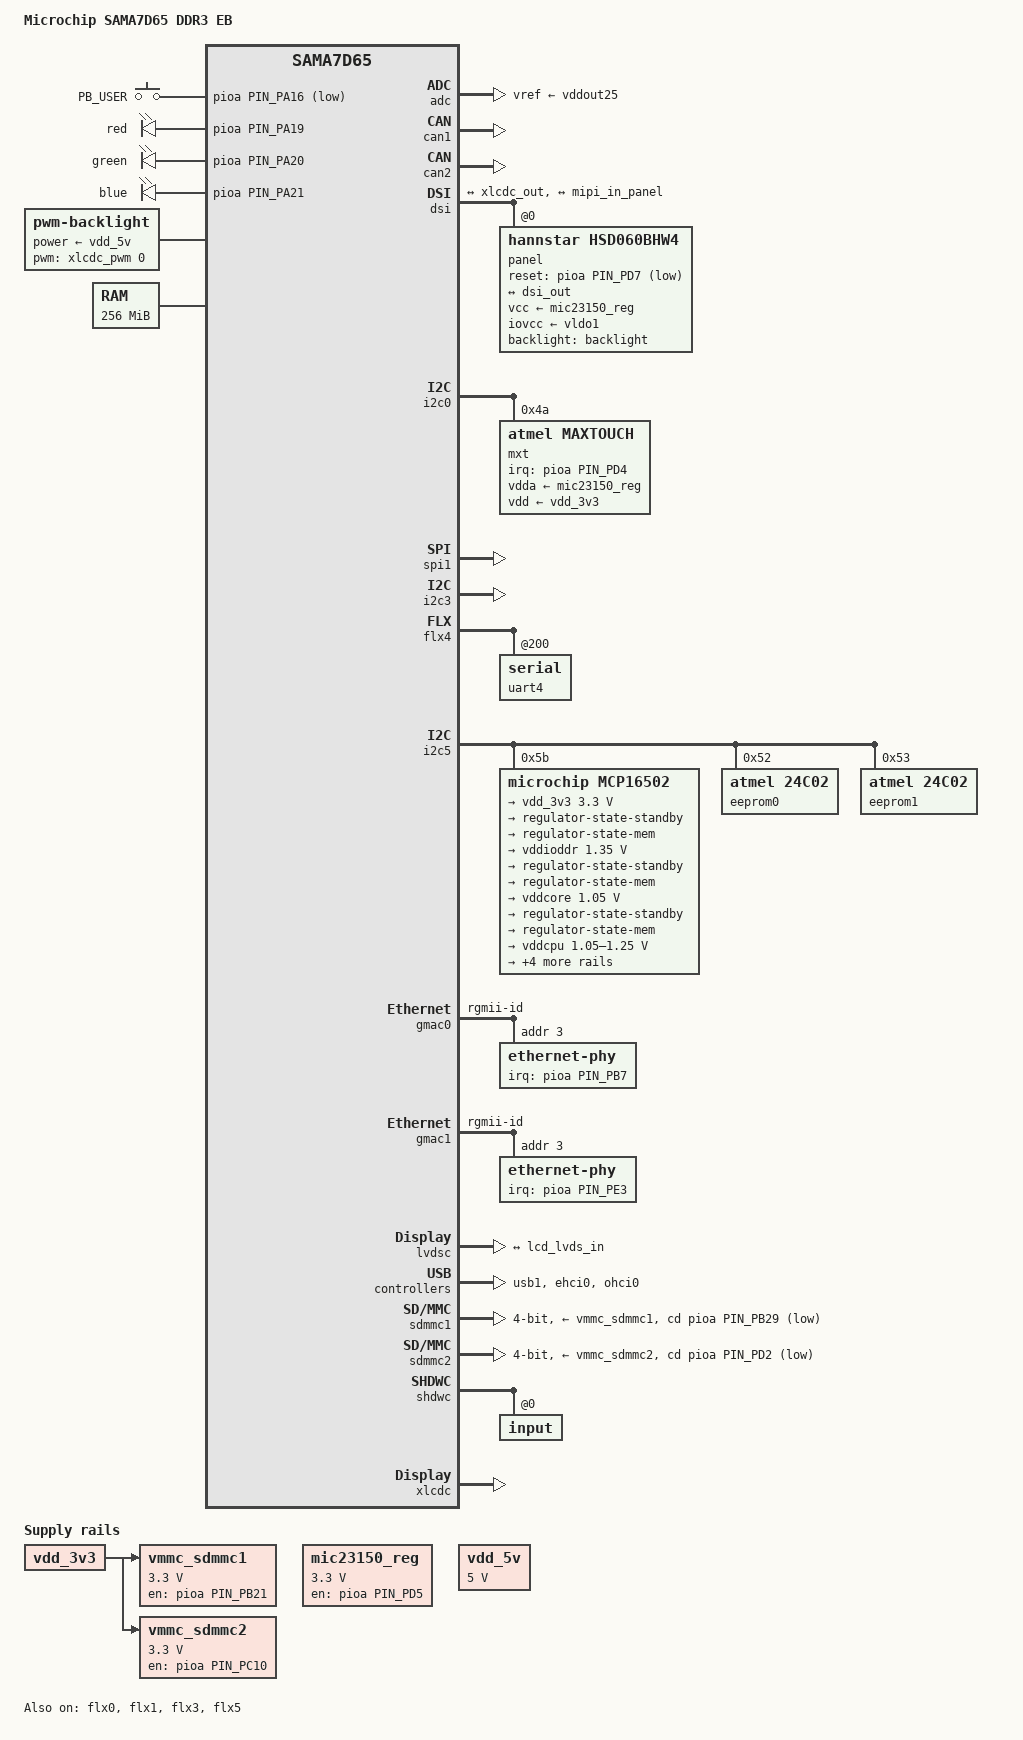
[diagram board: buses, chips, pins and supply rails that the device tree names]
// SPDX-License-Identifier: (GPL-2.0+ OR MIT)
/*
 *  at91-sama7d65.dts - Device Tree file for SAMA7D65 board
 *
 *  Copyright (c) 2023 Microchip Technology Inc. and its subsidiaries
 *
 *
 */
/dts-v1/;
#include "sama7d65-pinfunc.h"
#include "sama7d65.dtsi"
#include <dt-bindings/mfd/atmel-flexcom.h>
#include <dt-bindings/input/input.h>
#include <dt-bindings/pinctrl/at91.h>
#include <dt-bindings/sound/microchip,pdmc.h>

/* Select LCD interface: have this macro defined for MIPI DSI or undefined for LVDS */
#define LCD_DSI_NOT_LVDS

/ {
	model = "Microchip SAMA7D65 DDR3 EB";
	compatible = "microchip,sama7d65-ddr3-eb", "microchip,sama7d65", "microchip,sama7";

	chosen {

		bootargs = "rw root=/dev/mmcblk0p2 rootfstype=ext4 rootwait";
		stdout-path = "serial0:115200n8";
	};

	aliases {
		serial0 = &uart4;
		i2c0 = &i2c0;
		i2c1 = &i2c5;
		i2c2 = &i2c3;
		mmc0 = &sdmmc1;
		mmc1 = &sdmmc2;
	};

	display {
		/* LVDS WVGA Display panel Microchip AC69T88A */
		compatible = "sitronix,st7262", "simple-panel";
		power-supply = <&mic23150_reg>;
		backlight = <&backlight>;
		/* Warning: depending on board setup I3C or mikroBUS may own PC5 */
		reset-gpios = <&pioa PIN_PC5 GPIO_ACTIVE_LOW>;
		pinctrl-names = "default";
		pinctrl-0 = <&pinctrl_lcd_reset>;
		width-mm = <108>;
		height-mm = <65>;
#ifdef LCD_DSI_NOT_LVDS
		status="disabled";
#else
		status="okay";
#endif

		port {
			lcd_lvds_in: endpoint {
				remote-endpoint = <&lvdsc_out>;
			};
		};
	};

	gpio-keys {
		compatible = "gpio-keys";

		pinctrl-names = "default";
		pinctrl-0 = <&pinctrl_key_gpio_default>;

		button {
				label = "PB_USER";
				gpios = <&pioa PIN_PA16 GPIO_ACTIVE_LOW>;
				linux,code = <KEY_0>;
				wakeup-source;
		};
	};

	leds {
		compatible = "gpio-leds";
		pinctrl-names = "default";
		pinctrl-0 = <&pinctrl_led_gpio_default>;
		status = "okay"; /* Conflict with pwm. */

		red_led {
			label = "red";
			gpios = <&pioa PIN_PA19 GPIO_ACTIVE_HIGH>;
		};

		green_led {
			label = "green";
			gpios = <&pioa PIN_PA20 GPIO_ACTIVE_HIGH>;
		};

		blue_led {
			label = "blue";
			gpios = <&pioa PIN_PA21 GPIO_ACTIVE_HIGH>;
			linux,default-trigger = "heartbeat";
		};
	};

	mic23150_reg: mic23150_regulator {
		compatible = "regulator-fixed";
		regulator-name = "panel-power-supply";
		regulator-min-microvolt = <3300000>;
		regulator-max-microvolt = <3300000>;
		gpios = <&pioa PIN_PD5 GPIO_ACTIVE_HIGH>;
		enable-active-high;
		status = "okay";
	};

	backlight: backlight {
		compatible = "pwm-backlight";
		pwms = <&xlcdc_pwm 0 1000000 0>;
		brightness-levels = <0 4 8 16 32 64 128 255>;
		default-brightness-level = <7>;
		power-supply = <&vdd_5v>;
		status = "okay";
	};

	memory@60000000 {
		device_type = "memory";
		reg = <0x60000000 0x10000000>;
	};

	vdd_5v: fixed-regulator-vdd-5v {
		compatible = "regulator-fixed";
		regulator-name = "VDD_5V";
		regulator-min-microvolt = <5000000>;
		regulator-max-microvolt = <5000000>;
		regulator-always-on;
		status = "okay";
	};

	vmmc_sdmmc1: regulator-vmmc-sdmmc1 {
		compatible = "regulator-fixed";
		regulator-name = "VDD_SD_CARD1";
		regulator-min-microvolt = <3300000>;
		regulator-max-microvolt = <3300000>;
		gpios = <&pioa PIN_PB21 GPIO_ACTIVE_HIGH>;
		pinctrl-names = "default";
		pinctrl-0 = <&pinctrl_sdmmc1_card_pwr>;
		startup-delay-us = <30>;
		off-on-delay-us = <30000>;
		enable-active-high;
		regulator-boot-on;
		vin-supply = <&vdd_3v3>;
		status = "okay";
	};

	vmmc_sdmmc2: regulator-vmmc-sdmmc2 {
		compatible = "regulator-fixed";
		regulator-name = "VDD_SD_CARD2";
		regulator-min-microvolt = <3300000>;
		regulator-max-microvolt = <3300000>;
		gpios = <&pioa PIN_PC10 GPIO_ACTIVE_HIGH>;
		pinctrl-names = "default";
		pinctrl-0 = <&pinctrl_sdmmc2_card_pwr>;
		startup-delay-us = <30>;
		off-on-delay-us = <30000>;
		enable-active-high;
		regulator-boot-on;
		vin-supply = <&vdd_3v3>;
		status = "okay";
	};
};

&adc {
	vddana-supply = <&vddout25>;
	vref-supply = <&vddout25>;
	pinctrl-names = "default";
	pinctrl-0 = <&pinctrl_adc_default>;
	status = "okay";
};

&can1 {
	pinctrl-names = "default";
	pinctrl-0 = <&pinctrl_can1_default>;
	status = "okay";
};

&can2 {
	pinctrl-names = "default";
	pinctrl-0 = <&pinctrl_can2_default>;
	status = "okay";
};

&cpu0 {
	cpu-supply = <&vddcpu>;
};

&dma0 {
	status = "okay";
};

&dma1 {
	status = "okay";
};

&dma2 {
	status = "okay";
};

&dsi {
#ifdef LCD_DSI_NOT_LVDS
	status = "okay";
#endif
	#address-cells = <1>;
	#size-cells = <0>;

	ports {
		#address-cells = <1>;
		#size-cells = <0>;

#ifdef LCD_DSI_NOT_LVDS
		port@0 {
			reg = <0>;
			dsi_in: endpoint {
				remote-endpoint = <&xlcdc_out>;
			};
		};
#endif

		port@1 {
			reg = <1>;
			dsi_out: endpoint {
				remote-endpoint = <&mipi_in_panel>;
			};
		};
	};

	panel@0 {
		reg = <0>;
		compatible = "hannstar,hsd060bhw4";
		backlight = <&backlight>;
		vcc-supply = <&mic23150_reg>;
		iovcc-supply = <&vldo1>;
		/* Provide the panel-himax-hx8394 driver with a fake GPIO.
		 * When targeting DSI, PD7 is open, not wired to the display. */
		reset-gpio =  <&pioa PIN_PD7 GPIO_ACTIVE_LOW>;
		status = "okay";
		#address-cells = <1>;
		#size-cells = <0>;

		port@0 {
			reg = <0>;
			mipi_in_panel: endpoint {
				remote-endpoint = <&dsi_out>;
			};
		};
	};
};

&flx0 {
	atmel,flexcom-mode = <ATMEL_FLEXCOM_MODE_TWI>;
	status = "okay";

	i2c0: i2c@600 {
		pinctrl-names = "default";
		pinctrl-0 = <&pinctrl_i2c0_default>;
		i2c-analog-filter;
		i2c-digital-filter;
		i2c-digital-filter-width-ns = <35>;
		status = "okay";

		mxt: atmel_mxt_ts@4a {
			compatible = "atmel,maxtouch";
			reg = <0x4a>;
			interrupt-parent = <&pioa>;
			interrupts = <PIN_PD4 0x0>;
			pinctrl-names = "default";
			pinctrl-0 = <&pinctrl_mxt_irq>;
			vdda-supply = <&mic23150_reg>;
			vdd-supply = <&vdd_3v3>;
			status = "okay";
		};
	};
};

&flx1 {
	atmel,flexcom-mode = <ATMEL_FLEXCOM_MODE_SPI>;
	status  = "okay";
};

&spi1 {
	pinctrl-names = "default";
	pinctrl-0 = <&pinctrl_mikrobus1_spi &pinctrl_mikrobus1_spi_cs>;
	status = "okay";
};

&flx3 {
	atmel,flexcom-mode = <ATMEL_FLEXCOM_MODE_TWI>;
	status = "okay";

	i2c3: i2c@600 {
		pinctrl-names = "default";
		pinctrl-0 = <&pinctrl_i2c3_default>;
		i2c-analog-filter;
		i2c-digital-filter;
		i2c-digital-filter-width-ns = <35>;
		status = "okay";
	};
};

&flx4 {
	atmel,flexcom-mode = <ATMEL_FLEXCOM_MODE_USART>;
	status = "okay";

	uart4: serial@200 {
		pinctrl-names = "default";
		pinctrl-0 = <&pinctrl_flx4_default>;
		status = "okay";
	};
};

&flx5 {
	atmel,flexcom-mode = <ATMEL_FLEXCOM_MODE_TWI>;
	status = "okay";

	i2c5: i2c@600 {
		pinctrl-names = "default";
		pinctrl-0 = <&pinctrl_i2c5_default>;
		i2c-analog-filter;
		i2c-digital-filter;
		i2c-digital-filter-width-ns = <35>;
		status = "okay";

		mcp16502@5b {
			compatible = "microchip,mcp16502";
			reg = <0x5b>;
			status = "okay";

			regulators {
				vdd_3v3: VDD_IO {
					regulator-name = "VDD_IO";
					regulator-min-microvolt = <3300000>;
					regulator-max-microvolt = <3300000>;
					regulator-initial-mode = <2>;
					regulator-allowed-modes = <2>, <4>;
					regulator-always-on;

					regulator-state-standby {
						regulator-on-in-suspend;
						regulator-suspend-microvolt = <3300000>;
						regulator-mode = <4>;
					};

					regulator-state-mem {
						regulator-off-in-suspend;
						regulator-mode = <4>;
					};
				};

				vddioddr: VDD_DDR {
					regulator-name = "VDD_DDR";
					regulator-min-microvolt = <1350000>;
					regulator-max-microvolt = <1350000>;
					regulator-initial-mode = <2>;
					regulator-allowed-modes = <2>, <4>;
					regulator-always-on;

					regulator-state-standby {
						regulator-on-in-suspend;
						regulator-suspend-microvolt = <1350000>;
						regulator-mode = <4>;
					};

					regulator-state-mem {
						regulator-on-in-suspend;
						regulator-suspend-microvolt = <1350000>;
						regulator-mode = <4>;
					};
				};

				vddcore: VDD_CORE {
					regulator-name = "VDD_CORE";
					regulator-min-microvolt = <1050000>;
					regulator-max-microvolt = <1050000>;
					regulator-initial-mode = <2>;
					regulator-allowed-modes = <2>, <4>;
					regulator-always-on;

					regulator-state-standby {
						regulator-on-in-suspend;
						regulator-suspend-microvolt = <1050000>;
						regulator-mode = <4>;
					};

					regulator-state-mem {
						regulator-off-in-suspend;
						regulator-mode = <4>;
					};
				};

				vddcpu: VDD_OTHER {
					regulator-name = "VDD_OTHER";
					regulator-min-microvolt = <1050000>;
					regulator-max-microvolt = <1250000>;
					regulator-initial-mode = <2>;
					regulator-allowed-modes = <2>, <4>;
					regulator-ramp-delay = <3125>;
					regulator-always-on;

					regulator-state-standby {
						regulator-on-in-suspend;
						regulator-suspend-microvolt = <1050000>;
						regulator-mode = <4>;
					};

					regulator-state-mem {
						regulator-off-in-suspend;
						regulator-mode = <4>;
					};
				};

				vldo1: LDO1 {
					regulator-name = "LDO1";
					regulator-min-microvolt = <1800000>;
					regulator-max-microvolt = <1800000>;
					regulator-always-on;

					regulator-state-standby {
						regulator-suspend-microvolt = <1800000>;
						regulator-on-in-suspend;
					};

					regulator-state-mem {
						regulator-off-in-suspend;
					};
				};

				vldo2: LDO2 {
					regulator-name = "LDO2";
					regulator-min-microvolt = <1800000>;
					regulator-max-microvolt = <1800000>;
					regulator-always-on;

					regulator-state-standby {
						regulator-suspend-microvolt = <1800000>;
						regulator-on-in-suspend;
					};

					regulator-state-mem {
						regulator-off-in-suspend;
					};
				};
			};
		};

		eeprom0: eeprom@52 {
			compatible = "atmel,24c02"; /* EEPROM is 2Kbits microchip 24aa025e48, an at24c02 with page size of 16 */
			reg = <0x52>;
			pagesize = <16>;
			#address-cells = <1>;
			#size-cells = <0>;
			size = <256>;
			status = "okay";

			eeprom0_eui48: eui48@fa {
				reg = <0xfa 0x6>;
			};
		};

		eeprom1: eeprom@53 {
			compatible = "atmel,24c02"; /* EEPROM is 2Kbits microchip 24aa025e48, an at24c02 with page size of 16 */
			#address-cells = <1>;
			#size-cells = <0>;
			reg = <0x53>;
			pagesize = <16>;
			size = <256>;
			status = "okay";

			eeprom1_eui48: eui48@fa {
				reg = <0xfa 0x6>;
			};
		};
	};
};

&gmac0 {
	#address-cells = <1>;
	#size-cells = <0>;
	pinctrl-names = "default";
	pinctrl-0 = <&pinctrl_gmac0_default
		     &pinctrl_gmac0_mdio_default
		     &pinctrl_gmac0_txck_default
		     &pinctrl_gmac0_phy_irq>;
	phy-mode = "rgmii-id";
	status = "okay";

	ethernet-phy@3 {
		reg = <0x3>;
		interrupt-parent = <&pioa>;
		interrupts = <PIN_PB7 IRQ_TYPE_LEVEL_LOW>;
		status = "okay";
	};
};

&gmac1 {
	#address-cells = <1>;
	#size-cells = <0>;
	pinctrl-names = "default";
	pinctrl-0 = <&pinctrl_gmac1_default
		     &pinctrl_gmac1_mdio_default
		     &pinctrl_gmac1_txck_default
		     &pinctrl_gmac1_phy_irq>;
	phy-mode = "rgmii-id";
	status = "okay";

	ethernet-phy@3 {
		reg = <0x3>;
		interrupt-parent = <&pioa>;
		interrupts = <PIN_PE3 IRQ_TYPE_LEVEL_LOW>;
		status = "okay";
	};
};

&lvdsc {
#ifndef LCD_DSI_NOT_LVDS
	status = "okay";

	port@0 {
		reg = <0>;

		lvdsc_in: endpoint {
			remote-endpoint = <&xlcdc_out>;
		};
	};
#endif

	port@1 {
		reg = <1>;

		lvdsc_out: endpoint {
			remote-endpoint = <&lcd_lvds_in>;
		};
	};
};

&main_xtal {
	clock-frequency = <24000000>;
};

&pioa {
	pinctrl_adc_default: adc_default {
		pinmux = <PIN_PC5__GPIO>;
		bias-disable;
	};

	pinctrl_can1_default: can1_default {
		pinmux = <PIN_PD10__CANTX1>,
			 <PIN_PD11__CANRX1>;
		bias-disable;
	};

	pinctrl_can2_default: can2_default {
		pinmux = <PIN_PD12__CANTX2>,
			 <PIN_PD13__CANRX2>;
		bias-disable;
	};

	pinctrl_gmac0_default: gmac0_default {
		pinmux = <PIN_PA26__G0_TX0>,
			 <PIN_PA27__G0_TX1>,
			 <PIN_PB4__G0_TX2>,
			 <PIN_PB5__G0_TX3>,
			 <PIN_PA29__G0_RX0>,
			 <PIN_PA30__G0_RX1>,
			 <PIN_PB2__G0_RX2>,
			 <PIN_PB6__G0_RX3>,
			 <PIN_PA25__G0_TXCTL>,
			 <PIN_PB3__G0_RXCK>,
			 <PIN_PA28__G0_RXCTL>;
		slew-rate = <0>;
		bias-disable;
	};

	pinctrl_gmac0_mdio_default: gmac0_mdio_default {
		pinmux = <PIN_PA31__G0_MDC>,
			 <PIN_PB0__G0_MDIO>;
		bias-disable;
	};

	pinctrl_gmac1_default: gmac1_default{
		pinmux = <PIN_PD22__G1_TX0>,
			 <PIN_PD23__G1_TX1>,
			 <PIN_PE0__G1_TX2>,
			 <PIN_PE1__G1_TX3>,
			 <PIN_PD27__G1_RX0>,
			 <PIN_PD28__G1_RX1>,
			 <PIN_PD30__G1_RX2>,
			 <PIN_PD31__G1_RX3>,
			 <PIN_PD21__G1_TXCTL>,
			 <PIN_PE2__G1_RXCK>,
			 <PIN_PD24__G1_RXCTL>;
		slew-rate = <0>;
		bias-disable;
	};

	pinctrl_gmac1_mdio_default: gmac1_mdio_default {
		pinmux = <PIN_PD25__G1_MDC>,
			 <PIN_PD26__G1_MDIO>;
		bias-disable;
	};

	pinctrl_led_gpio_default: led_gpio_default {
		pinmux = <PIN_PA19__GPIO>,
			 <PIN_PA20__GPIO>,
			 <PIN_PA21__GPIO>;
		bias-pull-up;
	};

	pinctrl_gmac0_txck_default: gmac0_txck_default {
		pinmux = <PIN_PB1__G0_REFCK>;
		slew-rate = <0>;
		bias-pull-up;
	};

	pinctrl_gmac1_txck_default: gmac1_txck_default {
		pinmux = <PIN_PD29__G1_REFCK>;
		slew-rate = <0>;
		bias-pull-up;
	};

	pinctrl_gmac1_phy_irq: gmac1_phy_irq {
		pinmux = <PIN_PE3__GPIO>;
		bias-pull-up;
	};

	pinctrl_i2c0_default: i2c0_default {
		pinmux = <PIN_PC7__FLEXCOM0_IO0>,
			<PIN_PC6__FLEXCOM0_IO1>;
		bias-pull-up;
	};

	pinctrl_i2c3_default: i2c3_default{
		pinmux = <PIN_PA24__FLEXCOM3_IO0>,
			 <PIN_PA23__FLEXCOM3_IO1>;
		bias-pull-up;
	};

	pinctrl_flx4_default: flx4_default {
		pinmux = <PIN_PA17__FLEXCOM4_IO1>,
			<PIN_PA18__FLEXCOM4_IO0>;
		bias-disable;
	};

	pinctrl_i2c5_default: i2c5_default{
		pinmux = <PIN_PD16__FLEXCOM5_IO0>,
			 <PIN_PD17__FLEXCOM5_IO1>;
		bias-disable;
	};

	pinctrl_gmac0_phy_irq: gmac0_phy_irq {
		pinmux = <PIN_PB7__GPIO>;
		bias-pull-up;
	};

	pinctrl_key_gpio_default: key-gpio-default {
		pinmux = <PIN_PA16__GPIO>;
		bias-disable;
	};

	pinctrl_lcd_disp_en: lcd-disp {
		pinmux = <PIN_PD7__LCDC_DISP>;
		bias-disable;
	};

	pinctrl_lcd_pwm: lcd-pwm {
		pinmux = <PIN_PD6__LCDC_PWM>;
		bias-disable;
	};

	pinctrl_lcd_reset: lcd-rst {
		pinmux = <PIN_PC5__GPIO>;
		bias-pull-up;
	};

	pinctrl_mikrobus1_spi_cs: mikrobus1_spi_cs {
		pinmux = <PIN_PC17__FLEXCOM1_IO3>;
		bias-disable;
	};

	pinctrl_mikrobus1_spi: mikrobus1_spi {
		pinmux = <PIN_PC14__FLEXCOM1_IO0>,
			 <PIN_PC15__FLEXCOM1_IO1>,
			 <PIN_PC16__FLEXCOM1_IO2>;
		bias-disable;
	};

	pinctrl_mxt_irq: pinctrl_mxt_irq {
		pinmux = <PIN_PD4__GPIO>;
		bias-pull-up;
		input-debounce = <1>;
	};

	pinctrl_sdmmc1_default: sdmmc1_default {
		cmd_data {
			pinmux = <PIN_PB22__SDMMC1_CMD>,
				 <PIN_PB24__SDMMC1_DAT0>,
				 <PIN_PB25__SDMMC1_DAT1>,
				 <PIN_PB26__SDMMC1_DAT2>,
				 <PIN_PB27__SDMMC1_DAT3>;
			slew-rate = <0>;
			bias-disable;
		};

		ck_vddsel {
			pinmux = <PIN_PB23__SDMMC1_CK>,
				 <PIN_PB30__SDMMC1_1V8SEL>;
			slew-rate = <0>;
			bias-disable;
		};
	};

	pinctrl_sdmmc1_cd: sdmmc1-card-detect {
		pinmux = <PIN_PB29__GPIO>;
		bias-disable;
		input-debounce = <1>;
	};

	pinctrl_sdmmc1_card_pwr: sdmmc1-card-pwr {
		pinmux = <PIN_PB21__GPIO>;
		bias-disable;
	};

	pinctrl_sdmmc2_default: sdmmc2_default {
		cmd_data {
			pinmux = <PIN_PC27__SDMMC2_CMD>,
				 <PIN_PC29__SDMMC2_DAT0>,
				 <PIN_PC30__SDMMC2_DAT1>,
				 <PIN_PC31__SDMMC2_DAT2>,
				 <PIN_PD0__SDMMC2_DAT3>;
			slew-rate = <0>;
			bias-disable;
		};

		ck_wp_vddsel {
			pinmux = <PIN_PC28__SDMMC2_CK>,
				 <PIN_PD3__SDMMC2_1V8SEL>,
				 <PIN_PD1__SDMMC2_WP>;
			slew-rate = <0>;
			bias-disable;
		};
	};

	pinctrl_sdmmc2_cd: sdmmc2-card-detect {
		pinmux = <PIN_PD2__GPIO>;
		bias-disable;
		input-debounce = <1>;
	};

	pinctrl_sdmmc2_card_pwr: sdmmc2-card-pwr {
		pinmux = <PIN_PC10__GPIO>;
		bias-disable;
	};

	pinctrl_usb_default: usb_default {
		pinmux = <PIN_PC11__GPIO>;
		bias-disable;
	};

	pinctrl_usbb_vbus_det: usbb_vbus_det {
		pinmux = <PIN_PC0__GPIO>;
		bias-disable;
	};

	pinctrl_usbb_vbus_en: usbb_vbus_en {
		pinmux = <PIN_PB31__GPIO>;
		bias-disable;
	};
};

&slow_xtal {
	clock-frequency = <32768>;
};

&usb1 {
	atmel,vbus-gpio = <&pioa PIN_PC0 GPIO_ACTIVE_HIGH>;
	pinctrl-names = "default";
	pinctrl-0 = <&pinctrl_usbb_vbus_det>;
	status = "okay";
};

&ehci0 {
	status = "okay";
};

&ohci0 {
	num-ports = <3>;
	atmel,vbus-gpio = <0
			    &pioa PIN_PB31 GPIO_ACTIVE_LOW
			   &pioa PIN_PC11 GPIO_ACTIVE_LOW>;
	pinctrl-names = "default";
	pinctrl-0 = <&pinctrl_usb_default &pinctrl_usbb_vbus_en>;
	status = "okay";
};

&rtt {
	atmel,rtt-rtc-time-reg = <&gpbr 0x0>;
	status = "disabled";
};

&sdmmc1 {
	bus-width = <4>;
	full-pwr-cycle;
	vmmc-supply = <&vmmc_sdmmc1>;
	cd-gpios = <&pioa PIN_PB29 GPIO_ACTIVE_LOW>;
	disable-wp;
	pinctrl-names = "default";
	pinctrl-0 = <&pinctrl_sdmmc1_default &pinctrl_sdmmc1_cd>;
	status = "okay";
};

&sdmmc2 {
	bus-width = <4>;
	full-pwr-cycle;
	vmmc-supply = <&vmmc_sdmmc2>;
	cd-gpios = <&pioa PIN_PD2 GPIO_ACTIVE_LOW>;
	pinctrl-names = "default";
	pinctrl-0 = <&pinctrl_sdmmc2_default &pinctrl_sdmmc2_cd>;
	status = "okay";
};

&shdwc {
	debounce-delay-us = <976>;
	microchip,lpm-connection = <&gmac1 &main_xtal>;
	status = "okay";

	input@0 {
		reg = <0>;
	};
};

&vddout25 {
	vin-supply = <&vdd_3v3>;
	status = "okay";
};

&xlcdc {
#ifdef LCD_DSI_NOT_LVDS
	clocks = <&pmc PMC_TYPE_PERIPHERAL 56>, <&pmc PMC_TYPE_GCK 56>, <&clk32k 1>;
	clock-names = "periph_clk", "sys_clk", "slow_clk";
	assigned-clocks = <&pmc PMC_TYPE_GCK 56>;
	assigned-clock-rates = <66000000>;
	assigned-clock-parents = <&pmc PMC_TYPE_CORE PMC_MCK1>;
#else
	clocks = <&pmc PMC_TYPE_PERIPHERAL 56>, <&pmc PMC_TYPE_CORE PMC_LVDSPLL>, <&clk32k 1>;
	clock-names = "periph_clk", "lvds_pll_clk", "slow_clk";
#endif
	status = "okay";

	hlcdc-display-controller {
#ifndef LCD_DSI_NOT_LVDS
		pinctrl-names = "default";
		pinctrl-0 = <&pinctrl_lcd_disp_en>;
#endif

		port@0 {
			xlcdc_out: endpoint@0 {
				reg = <0>;
#ifdef LCD_DSI_NOT_LVDS
				remote-endpoint = <&dsi_in>;
#else
				remote-endpoint = <&lvdsc_in>;
#endif
			};
		};
	};

	xlcdc_pwm: hlcdc-pwm {
		pinctrl-names = "default";
		pinctrl-0 = <&pinctrl_lcd_pwm>;
		status = "okay";
	};
};
